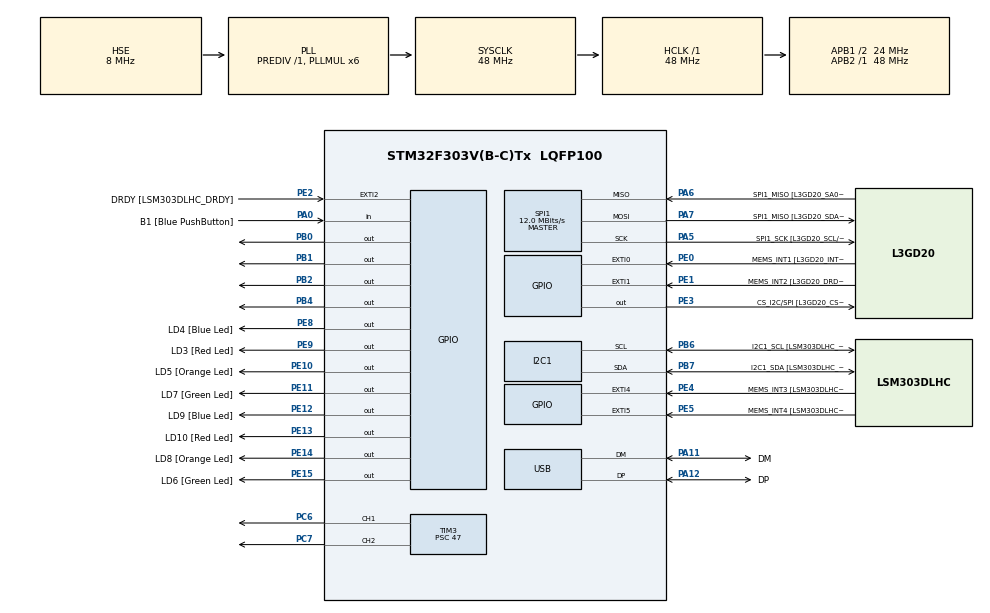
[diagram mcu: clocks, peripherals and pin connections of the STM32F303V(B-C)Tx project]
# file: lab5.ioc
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I2C1.Timing=0x2000090E
I2C1.Timing-I2C=0x2000090E
Mcu.Family=STM32F3
Mcu.Name=STM32F303V(B-C)Tx
Mcu.Package=LQFP100
NVIC.PriorityGroup=NVIC_PRIORITYGROUP_0
PA0.GPIO_Label=B1 [Blue PushButton]
PA0.Signal=GPIO_Input
PA11.GPIO_Label=DM
PA11.Mode=Device
PA11.Signal=USB_DM
PA12.GPIO_Label=DP
PA12.Mode=Device
PA12.Signal=USB_DP
PA13.GPIO_Label=SWDIO
PA13.Mode=Serial_Wire
PA13.Signal=SYS_JTMS-SWDIO
PA14.GPIO_Label=SWCLK
PA14.Mode=Serial_Wire
PA14.Signal=SYS_JTCK-SWCLK
PA5.GPIO_Label=SPI1_SCK [L3GD20_SCL/SPC]
PA5.Mode=Full_Duplex_Master
PA5.Signal=SPI1_SCK
PA6.GPIO_Label=SPI1_MISO [L3GD20_SA0/SDO]
PA6.Mode=Full_Duplex_Master
PA6.Signal=SPI1_MISO
PA7.GPIO_Label=SPI1_MISO [L3GD20_SDA/SDI/SDO]
PA7.Mode=Full_Duplex_Master
PA7.Signal=SPI1_MOSI
PB0.Signal=GPIO_Output
PB1.Signal=GPIO_Output
PB2.Signal=GPIO_Output
PB3.GPIO_Label=SWO
PB3.Signal=SYS_JTDO-TRACESWO
PB4.Signal=GPIO_Output
PB6.GPIO_Label=I2C1_SCL [LSM303DLHC_SCL]
PB6.GPIO_Pu=GPIO_PULLUP
PB6.Mode=I2C
PB6.Signal=I2C1_SCL
PB7.GPIO_Label=I2C1_SDA [LSM303DLHC_SDA]
PB7.GPIO_Pu=GPIO_PULLUP
PB7.Mode=I2C
PB7.Signal=I2C1_SDA
PC14-OSC32_IN.GPIO_Label=OSC32_IN
PC14-OSC32_IN.Signal=RCC_OSC32_IN
PC15-OSC32_OUT.GPIO_Label=OSC32_OUT
PC15-OSC32_OUT.Signal=RCC_OSC32_OUT
PC6.Signal=S_TIM3_CH1
PC7.Signal=S_TIM3_CH2
PE0.GPIO_Label=MEMS_INT1 [L3GD20_INT1]
PE0.GPIO_ModeDefaultEXTI=GPIO_MODE_EVT_RISING
PE0.Signal=GPXTI0
PE1.GPIO_Label=MEMS_INT2 [L3GD20_DRDY/INT2]
PE1.GPIO_ModeDefaultEXTI=GPIO_MODE_EVT_RISING
PE1.Signal=GPXTI1
PE10.GPIO_Label=LD5 [Orange Led]
PE10.Signal=GPIO_Output
PE11.GPIO_Label=LD7 [Green Led]
PE11.Signal=GPIO_Output
PE12.GPIO_Label=LD9 [Blue Led]
PE12.Signal=GPIO_Output
PE13.GPIO_Label=LD10 [Red Led]
PE13.Signal=GPIO_Output
PE14.GPIO_Label=LD8 [Orange Led]
PE14.Signal=GPIO_Output
PE15.GPIO_Label=LD6 [Green Led]
PE15.Signal=GPIO_Output
PE2.GPIO_Label=DRDY [LSM303DLHC_DRDY]
PE2.GPIO_ModeDefaultEXTI=GPIO_MODE_EVT_RISING
PE2.Signal=GPXTI2
PE3.GPIO_Label=CS_I2C/SPI [L3GD20_CS_I2C/SPI]
PE3.Signal=GPIO_Output
PE4.GPIO_Label=MEMS_INT3 [LSM303DLHC_INT1]
PE4.GPIO_ModeDefaultEXTI=GPIO_MODE_EVT_RISING
PE4.Signal=GPXTI4
PE5.GPIO_Label=MEMS_INT4 [LSM303DLHC_INT2]
PE5.GPIO_ModeDefaultEXTI=GPIO_MODE_EVT_RISING
PE5.Signal=GPXTI5
PE8.GPIO_Label=LD4 [Blue Led]
PE8.Signal=GPIO_Output
PE9.GPIO_Label=LD3 [Red Led]
PE9.Signal=GPIO_Output
PF0-OSC_IN.GPIO_Label=OSC_IN
PF0-OSC_IN.Mode=HSE-External-Clock-Source
PF0-OSC_IN.Signal=RCC_OSC_IN
PF1-OSC_OUT.GPIO_Label=OSC_OUT
PF1-OSC_OUT.Signal=RCC_OSC_OUT
ProjectManager.HeapSize=0x200
ProjectManager.StackSize=0x400
ProjectManager.TargetToolchain=CMake
RCC.AHBFreq_Value=48000000
RCC.APB1CLKDivider=RCC_HCLK_DIV2
RCC.APB1Freq_Value=24000000
RCC.APB1TimFreq_Value=48000000
RCC.APB2Freq_Value=48000000
RCC.APB2TimFreq_Value=48000000
RCC.CortexFreq_Value=48000000
RCC.HCLKFreq_Value=48000000
RCC.HSE_VALUE=8000000
RCC.HSI_VALUE=8000000
RCC.LSE_VALUE=32768
RCC.PLLMUL=RCC_PLL_MUL6
RCC.SYSCLKFreq_VALUE=48000000
RCC.SYSCLKSourceVirtual=RCC_SYSCLKSOURCE_PLLCLK
RCC.USBFreq_Value=48000000
SH.S_TIM3_CH1.0=TIM3_CH1,PWM Generation1 CH1
SH.S_TIM3_CH2.0=TIM3_CH2,PWM Generation2 CH2
SPI1.BaudRatePrescaler=SPI_BAUDRATEPRESCALER_4
SPI1.BaudRatePrescaler-Full_Duplex_Master=SPI_BAUDRATEPRESCALER_2
SPI1.CalculateBaudRate=12.0 MBits/s
SPI1.CalculateBaudRate-Full_Duplex_Master=24.0 MBits/s
SPI1.Direction=SPI_DIRECTION_2LINES
SPI1.Mode=SPI_MODE_MASTER
SPI1.Mode-Full_Duplex_Master=SPI_MODE_MASTER
SPI1.VirtualType=VM_MASTER
TIM3.Channel-PWM\ Generation1\ CH1=TIM_CHANNEL_1
TIM3.Channel-PWM\ Generation2\ CH2=TIM_CHANNEL_2
TIM3.Period=999
TIM3.Prescaler=47
VP_TIM3_VS_ClockSourceINT.Mode=Internal
board=STM32F3DISCOVERY

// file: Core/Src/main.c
/* USER CODE BEGIN Header */
/**
  ******************************************************************************
  * @file           : main.c
  * @brief          : Main program body
  ******************************************************************************
  * @attention
  *
  * Copyright (c) 2026 STMicroelectronics.
  * All rights reserved.
  *
  * This software is licensed under terms that can be found in the LICENSE file
  * in the root directory of this software component.
  * If no LICENSE file comes with this software, it is provided AS-IS.
  *
  ******************************************************************************
  */
/* USER CODE END Header */
#include "main.h"

/* USER CODE BEGIN PD */
#define STOP 0
#define FORWARD 1
#define BACKWARD 2
/* USER CODE END PD */

I2C_HandleTypeDef hi2c1;

SPI_HandleTypeDef hspi1;

TIM_HandleTypeDef htim3;

PCD_HandleTypeDef hpcd_USB_FS;

void SystemClock_Config(void);
static void MX_GPIO_Init(void);
static void MX_I2C1_Init(void);
static void MX_SPI1_Init(void);
static void MX_TIM3_Init(void);
static void MX_USB_PCD_Init(void);

/* USER CODE BEGIN 0 */

// TASK 2
void setRightMotor(uint8_t dir , uint16_t speed) {
  if (speed > 999) speed = 999;
  __HAL_TIM_SET_COMPARE(&htim3, TIM_CHANNEL_1, speed);
  if (dir == 1) {
    HAL_GPIO_WritePin(GPIOB, GPIO_PIN_0, GPIO_PIN_SET);
    HAL_GPIO_WritePin(GPIOB, GPIO_PIN_1, GPIO_PIN_RESET);
  } else if (dir == 2) {
    HAL_GPIO_WritePin(GPIOB, GPIO_PIN_0, GPIO_PIN_RESET);
    HAL_GPIO_WritePin(GPIOB, GPIO_PIN_1, GPIO_PIN_SET);
  } else {
    HAL_GPIO_WritePin(GPIOB, GPIO_PIN_0, GPIO_PIN_RESET);
    HAL_GPIO_WritePin(GPIOB, GPIO_PIN_1, GPIO_PIN_RESET);
  }
}

void setLeftMotor(uint8_t dir , uint16_t speed) {
  if (speed > 999) speed = 999;
  __HAL_TIM_SET_COMPARE(&htim3, TIM_CHANNEL_2, speed);
  if (dir == 1) {
    HAL_GPIO_WritePin(GPIOB, GPIO_PIN_2, GPIO_PIN_SET);
    HAL_GPIO_WritePin(GPIOB, GPIO_PIN_4, GPIO_PIN_RESET);
  } else if (dir == 2) {
    HAL_GPIO_WritePin(GPIOB, GPIO_PIN_2, GPIO_PIN_RESET);
    HAL_GPIO_WritePin(GPIOB, GPIO_PIN_4, GPIO_PIN_SET);
  } else {
    HAL_GPIO_WritePin(GPIOB, GPIO_PIN_2, GPIO_PIN_RESET);
    HAL_GPIO_WritePin(GPIOB, GPIO_PIN_4, GPIO_PIN_RESET);
  }
}
/* USER CODE END 0 */

int main(void)
{

  /* MCU Configuration--------------------------------------------------------*/

  /* Reset of all peripherals, Initializes the Flash interface and the Systick. */
  HAL_Init();

  /* Configure the system clock */
  SystemClock_Config();

  /* Initialize all configured peripherals */
  MX_GPIO_Init();
  MX_I2C1_Init();
  MX_SPI1_Init();
  MX_TIM3_Init();
  MX_USB_PCD_Init();
  /* USER CODE BEGIN 2 */
  HAL_TIM_PWM_Start(&htim3, TIM_CHANNEL_1);
  HAL_TIM_PWM_Start(&htim3, TIM_CHANNEL_2);

  /* USER CODE END 2 */

  /* Infinite loop */
  while (1)
  {

    /* USER CODE BEGIN 3 */
    // TASK 1:
    // for (int ccr = 0 ; ccr < 1000 ; ccr += 10) {
    //   __HAL_TIM_SET_COMPARE(&htim3, TIM_CHANNEL_1, ccr);
    //   HAL_Delay(10);
    // }

    // for (int ccr = 999 ; ccr >= 0 ; ccr -= 10) {
    //   __HAL_TIM_SET_COMPARE(&htim3, TIM_CHANNEL_1, ccr);
    //   HAL_Delay(10);
    // }

    // TASK 2:
    // setRightMotor(FORWARD, 500);
    // setLeftMotor(FORWARD, 500);
    // HAL_Delay(3000);

    // setRightMotor(BACKWARD, 500);
    // setLeftMotor(BACKWARD, 500);
    // HAL_Delay(3000);

    // setRightMotor(STOP, 500);
    // setLeftMotor(STOP, 500);
    // HAL_Delay(3000);
  }
  /* USER CODE END 3 */
}

void SystemClock_Config(void)
{
  RCC_OscInitTypeDef RCC_OscInitStruct = {0};
  RCC_ClkInitTypeDef RCC_ClkInitStruct = {0};
  RCC_PeriphCLKInitTypeDef PeriphClkInit = {0};

  /** Initializes the RCC Oscillators according to the specified parameters
  * in the RCC_OscInitTypeDef structure.
  */
  RCC_OscInitStruct.OscillatorType = RCC_OSCILLATORTYPE_HSI|RCC_OSCILLATORTYPE_HSE;
  RCC_OscInitStruct.HSEState = RCC_HSE_BYPASS;
  RCC_OscInitStruct.HSEPredivValue = RCC_HSE_PREDIV_DIV1;
  RCC_OscInitStruct.HSIState = RCC_HSI_ON;
  RCC_OscInitStruct.HSICalibrationValue = RCC_HSICALIBRATION_DEFAULT;
  RCC_OscInitStruct.PLL.PLLState = RCC_PLL_ON;
  RCC_OscInitStruct.PLL.PLLSource = RCC_PLLSOURCE_HSE;
  RCC_OscInitStruct.PLL.PLLMUL = RCC_PLL_MUL6;
  if (HAL_RCC_OscConfig(&RCC_OscInitStruct) != HAL_OK)
  {
    Error_Handler();
  }

  /** Initializes the CPU, AHB and APB buses clocks
  */
  RCC_ClkInitStruct.ClockType = RCC_CLOCKTYPE_HCLK|RCC_CLOCKTYPE_SYSCLK
                              |RCC_CLOCKTYPE_PCLK1|RCC_CLOCKTYPE_PCLK2;
  RCC_ClkInitStruct.SYSCLKSource = RCC_SYSCLKSOURCE_PLLCLK;
  RCC_ClkInitStruct.AHBCLKDivider = RCC_SYSCLK_DIV1;
  RCC_ClkInitStruct.APB1CLKDivider = RCC_HCLK_DIV2;
  RCC_ClkInitStruct.APB2CLKDivider = RCC_HCLK_DIV1;

  if (HAL_RCC_ClockConfig(&RCC_ClkInitStruct, FLASH_LATENCY_1) != HAL_OK)
  {
    Error_Handler();
  }
  PeriphClkInit.PeriphClockSelection = RCC_PERIPHCLK_USB|RCC_PERIPHCLK_I2C1;
  PeriphClkInit.I2c1ClockSelection = RCC_I2C1CLKSOURCE_HSI;
  PeriphClkInit.USBClockSelection = RCC_USBCLKSOURCE_PLL;
  if (HAL_RCCEx_PeriphCLKConfig(&PeriphClkInit) != HAL_OK)
  {
    Error_Handler();
  }
}

static void MX_I2C1_Init(void)
{

  hi2c1.Instance = I2C1;
  hi2c1.Init.Timing = 0x2000090E;
  hi2c1.Init.OwnAddress1 = 0;
  hi2c1.Init.AddressingMode = I2C_ADDRESSINGMODE_7BIT;
  hi2c1.Init.DualAddressMode = I2C_DUALADDRESS_DISABLE;
  hi2c1.Init.OwnAddress2 = 0;
  hi2c1.Init.OwnAddress2Masks = I2C_OA2_NOMASK;
  hi2c1.Init.GeneralCallMode = I2C_GENERALCALL_DISABLE;
  hi2c1.Init.NoStretchMode = I2C_NOSTRETCH_DISABLE;
  if (HAL_I2C_Init(&hi2c1) != HAL_OK)
  {
    Error_Handler();
  }

  /** Configure Analogue filter
  */
  if (HAL_I2CEx_ConfigAnalogFilter(&hi2c1, I2C_ANALOGFILTER_ENABLE) != HAL_OK)
  {
    Error_Handler();
  }

  /** Configure Digital filter
  */
  if (HAL_I2CEx_ConfigDigitalFilter(&hi2c1, 0) != HAL_OK)
  {
    Error_Handler();
  }

}

static void MX_SPI1_Init(void)
{

  /* SPI1 parameter configuration*/
  hspi1.Instance = SPI1;
  hspi1.Init.Mode = SPI_MODE_MASTER;
  hspi1.Init.Direction = SPI_DIRECTION_2LINES;
  hspi1.Init.DataSize = SPI_DATASIZE_4BIT;
  hspi1.Init.CLKPolarity = SPI_POLARITY_LOW;
  hspi1.Init.CLKPhase = SPI_PHASE_1EDGE;
  hspi1.Init.NSS = SPI_NSS_SOFT;
  hspi1.Init.BaudRatePrescaler = SPI_BAUDRATEPRESCALER_4;
  hspi1.Init.FirstBit = SPI_FIRSTBIT_MSB;
  hspi1.Init.TIMode = SPI_TIMODE_DISABLE;
  hspi1.Init.CRCCalculation = SPI_CRCCALCULATION_DISABLE;
  hspi1.Init.CRCPolynomial = 7;
  hspi1.Init.CRCLength = SPI_CRC_LENGTH_DATASIZE;
  hspi1.Init.NSSPMode = SPI_NSS_PULSE_ENABLE;
  if (HAL_SPI_Init(&hspi1) != HAL_OK)
  {
    Error_Handler();
  }

}

static void MX_TIM3_Init(void)
{

  TIM_ClockConfigTypeDef sClockSourceConfig = {0};
  TIM_MasterConfigTypeDef sMasterConfig = {0};
  TIM_OC_InitTypeDef sConfigOC = {0};

  htim3.Instance = TIM3;
  htim3.Init.Prescaler = 47;
  htim3.Init.CounterMode = TIM_COUNTERMODE_UP;
  htim3.Init.Period = 999;
  htim3.Init.ClockDivision = TIM_CLOCKDIVISION_DIV1;
  htim3.Init.AutoReloadPreload = TIM_AUTORELOAD_PRELOAD_DISABLE;
  if (HAL_TIM_Base_Init(&htim3) != HAL_OK)
  {
    Error_Handler();
  }
  sClockSourceConfig.ClockSource = TIM_CLOCKSOURCE_INTERNAL;
  if (HAL_TIM_ConfigClockSource(&htim3, &sClockSourceConfig) != HAL_OK)
  {
    Error_Handler();
  }
  if (HAL_TIM_PWM_Init(&htim3) != HAL_OK)
  {
    Error_Handler();
  }
  sMasterConfig.MasterOutputTrigger = TIM_TRGO_RESET;
  sMasterConfig.MasterSlaveMode = TIM_MASTERSLAVEMODE_DISABLE;
  if (HAL_TIMEx_MasterConfigSynchronization(&htim3, &sMasterConfig) != HAL_OK)
  {
    Error_Handler();
  }
  sConfigOC.OCMode = TIM_OCMODE_PWM1;
  sConfigOC.Pulse = 0;
  sConfigOC.OCPolarity = TIM_OCPOLARITY_HIGH;
  sConfigOC.OCFastMode = TIM_OCFAST_DISABLE;
  if (HAL_TIM_PWM_ConfigChannel(&htim3, &sConfigOC, TIM_CHANNEL_1) != HAL_OK)
  {
    Error_Handler();
  }
  if (HAL_TIM_PWM_ConfigChannel(&htim3, &sConfigOC, TIM_CHANNEL_2) != HAL_OK)
  {
    Error_Handler();
  }
  HAL_TIM_MspPostInit(&htim3);

}

static void MX_USB_PCD_Init(void)
{

  hpcd_USB_FS.Instance = USB;
  hpcd_USB_FS.Init.dev_endpoints = 8;
  hpcd_USB_FS.Init.speed = PCD_SPEED_FULL;
  hpcd_USB_FS.Init.phy_itface = PCD_PHY_EMBEDDED;
  hpcd_USB_FS.Init.low_power_enable = DISABLE;
  hpcd_USB_FS.Init.battery_charging_enable = DISABLE;
  if (HAL_PCD_Init(&hpcd_USB_FS) != HAL_OK)
  {
    Error_Handler();
  }

}

static void MX_GPIO_Init(void)
{
  GPIO_InitTypeDef GPIO_InitStruct = {0};

  /* GPIO Ports Clock Enable */
  __HAL_RCC_GPIOE_CLK_ENABLE();
  __HAL_RCC_GPIOC_CLK_ENABLE();
  __HAL_RCC_GPIOF_CLK_ENABLE();
  __HAL_RCC_GPIOA_CLK_ENABLE();
  __HAL_RCC_GPIOB_CLK_ENABLE();

  /*Configure GPIO pin Output Level */
  HAL_GPIO_WritePin(GPIOE, CS_I2C_SPI_Pin|LD4_Pin|LD3_Pin|LD5_Pin
                          |LD7_Pin|LD9_Pin|LD10_Pin|LD8_Pin
                          |LD6_Pin, GPIO_PIN_RESET);

  /*Configure GPIO pin Output Level */
  HAL_GPIO_WritePin(GPIOB, GPIO_PIN_0|GPIO_PIN_1|GPIO_PIN_2|GPIO_PIN_4, GPIO_PIN_RESET);

  /*Configure GPIO pins : DRDY_Pin MEMS_INT3_Pin MEMS_INT4_Pin MEMS_INT1_Pin
                           MEMS_INT2_Pin */
  GPIO_InitStruct.Pin = DRDY_Pin|MEMS_INT3_Pin|MEMS_INT4_Pin|MEMS_INT1_Pin
                          |MEMS_INT2_Pin;
  GPIO_InitStruct.Mode = GPIO_MODE_EVT_RISING;
  GPIO_InitStruct.Pull = GPIO_NOPULL;
  HAL_GPIO_Init(GPIOE, &GPIO_InitStruct);

  /*Configure GPIO pins : CS_I2C_SPI_Pin LD4_Pin LD3_Pin LD5_Pin
                           LD7_Pin LD9_Pin LD10_Pin LD8_Pin
                           LD6_Pin */
  GPIO_InitStruct.Pin = CS_I2C_SPI_Pin|LD4_Pin|LD3_Pin|LD5_Pin
                          |LD7_Pin|LD9_Pin|LD10_Pin|LD8_Pin
                          |LD6_Pin;
  GPIO_InitStruct.Mode = GPIO_MODE_OUTPUT_PP;
  GPIO_InitStruct.Pull = GPIO_NOPULL;
  GPIO_InitStruct.Speed = GPIO_SPEED_FREQ_LOW;
  HAL_GPIO_Init(GPIOE, &GPIO_InitStruct);

  /*Configure GPIO pin : B1_Pin */
  GPIO_InitStruct.Pin = B1_Pin;
  GPIO_InitStruct.Mode = GPIO_MODE_INPUT;
  GPIO_InitStruct.Pull = GPIO_NOPULL;
  HAL_GPIO_Init(B1_GPIO_Port, &GPIO_InitStruct);

  /*Configure GPIO pins : PB0 PB1 PB2 PB4 */
  GPIO_InitStruct.Pin = GPIO_PIN_0|GPIO_PIN_1|GPIO_PIN_2|GPIO_PIN_4;
  GPIO_InitStruct.Mode = GPIO_MODE_OUTPUT_PP;
  GPIO_InitStruct.Pull = GPIO_NOPULL;
  GPIO_InitStruct.Speed = GPIO_SPEED_FREQ_LOW;
  HAL_GPIO_Init(GPIOB, &GPIO_InitStruct);

}

void Error_Handler(void)
{
  __disable_irq();
  while (1)
  {
  }
}
